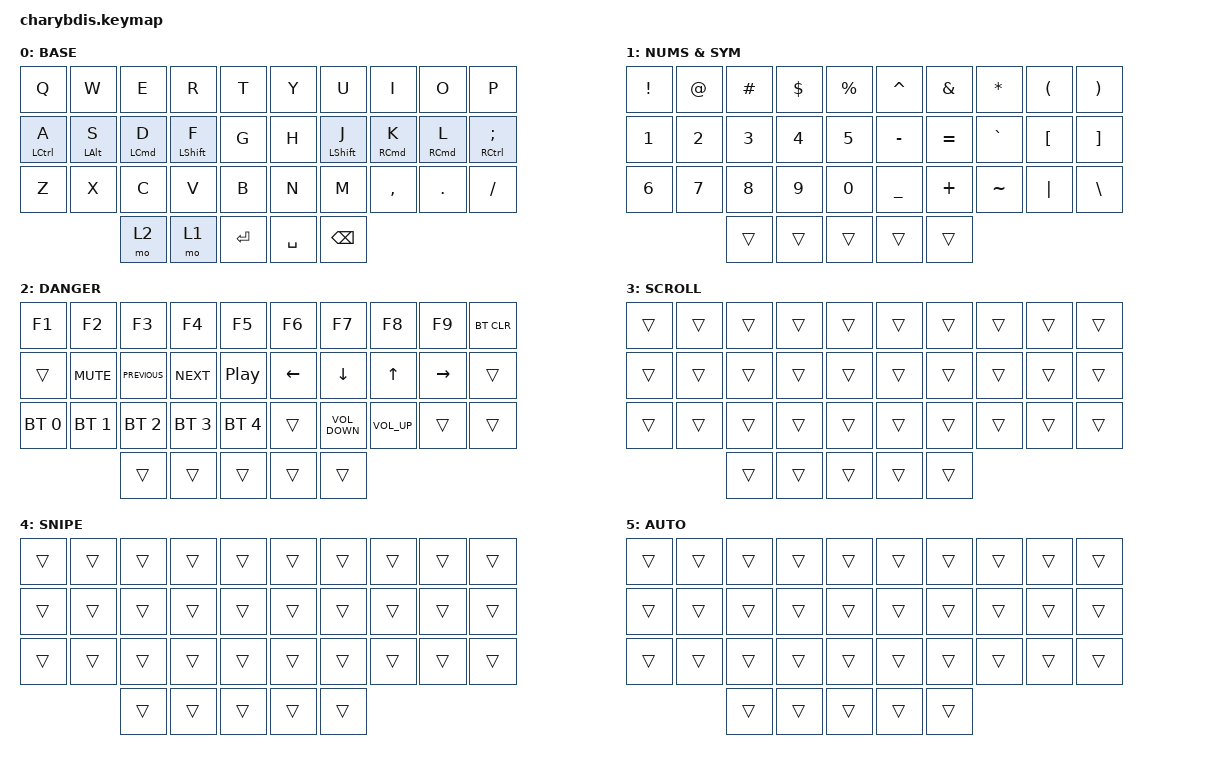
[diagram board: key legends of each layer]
#include <behaviors/mouse_keys.dtsi>

#include "zmk-helpers/helper.h"

#include "zmk-helpers/key-labels/34.h"                                      // key-position labels
#include <behaviors.dtsi>

#include <dt-bindings/zmk/bt.h>
#include <dt-bindings/zmk/keys.h>
#include <dt-bindings/zmk/mouse.h>

#define HM_TAPPING_TERM 260
#define HM_TAPPING_TERM_FAST 165
#define HM_PRIOR_IDLE 140

#define COMBO_TERM_FAST 30
#define COMBO_TERM_SLOW 35
#define COMBO_PRIOR_IDLE 75

#define BASE 0
#define NUMS 1
#define DANGER 2
#define SCROLL 3
#define SNIPE 4
#define AUTO 5

#define KEYS_L LT0 LT1 LT2 LT3 LT4 LM0 LM1 LM2 LM3 LM4 LB0 LB1 LB2 LB3 LB4  // left-hand keys
#define KEYS_R RT0 RT1 RT2 RT3 RT4 RM0 RM1 RM2 RM3 RM4 RB0 RB1 RB2 RB3 RB4  // right-hand keys
#define KEYS_T                 LH1 LH0 RH0 RH1                              // thumb keys

/ {
combos {
        compatible = "zmk,combos";

        //INFO: Mouse clicks - left hand
        combo_mouse_left_click_l {
            timeout-ms = <COMBO_TERM_FAST>;
            require-prior-idle-ms = <COMBO_PRIOR_IDLE>;
            bindings = <&mkp LCLK>;
            key-positions = <11 12>;
        };

        combo_mouse_right_click_l {
            timeout-ms = <COMBO_TERM_FAST>;
            require-prior-idle-ms = <COMBO_PRIOR_IDLE>;
            bindings = <&mkp RCLK>;
            key-positions = <12 13>;
        };

        combo_mouse_middle_click_l {
            timeout-ms = <COMBO_TERM_FAST>;
            require-prior-idle-ms = <COMBO_PRIOR_IDLE>;
            bindings = <&mkp MCLK>;
            key-positions = <11 12 13>;
        };

        //INFO: Mouse clicks - right hand
        combo_mouse_left_click_r {
            timeout-ms = <COMBO_TERM_FAST>;
            require-prior-idle-ms = <COMBO_PRIOR_IDLE>;
            bindings = <&mkp LCLK>;
            key-positions = <16 17>;
        };

        combo_mouse_right_click_r {
            timeout-ms = <COMBO_TERM_FAST>;
            require-prior-idle-ms = <COMBO_PRIOR_IDLE>;
            bindings = <&mkp RCLK>;
            key-positions = <17 18>;
        };

        combo_mouse_middle_click_r {
            timeout-ms = <COMBO_TERM_FAST>;
            require-prior-idle-ms = <COMBO_PRIOR_IDLE>;
            bindings = <&mkp MCLK>;
            key-positions = <16 17 18>;
        };

        //INFO: Layer activation
        combo_layer_scroll_l {
            timeout-ms = <COMBO_TERM_FAST>;
            require-prior-idle-ms = <COMBO_PRIOR_IDLE>;
            bindings = <&mo 3>;
            key-positions = <21 22 23>;
        };

        combo_layer_snipe_l {
            timeout-ms = <COMBO_TERM_FAST>;
            require-prior-idle-ms = <COMBO_PRIOR_IDLE>;
            bindings = <&mo 4>;
            key-positions = <20 21 22>;
        };

        combo_layer_scroll_r {
            timeout-ms = <COMBO_TERM_FAST>;
            require-prior-idle-ms = <COMBO_PRIOR_IDLE>;
            bindings = <&mo 3>;
            key-positions = <26 27 28>;
        };

        combo_layer_snipe_r {
            timeout-ms = <COMBO_TERM_FAST>;
            require-prior-idle-ms = <COMBO_PRIOR_IDLE>;
            bindings = <&mo 4>;
            key-positions = <27 28 29>;
        };

        combo_layer_auto {
            timeout-ms = <COMBO_TERM_FAST>;
            require-prior-idle-ms = <COMBO_PRIOR_IDLE>;
            bindings = <&mo 5>;
            key-positions = <3 4>;
        };

        combo_layer_dan {
            timeout-ms = <COMBO_TERM_FAST>;
            require-prior-idle-ms = <COMBO_PRIOR_IDLE>;
            bindings = <&mo 2>;
            key-positions = <33 34>;
        };

        //INFO: Brackets and braces
        combo_paren_l {
            timeout-ms = <COMBO_TERM_FAST>;
            require-prior-idle-ms = <COMBO_PRIOR_IDLE>;
            bindings = <&kp LEFT_PARENTHESIS>;
            key-positions = <2 3>;
        };

        combo_paren_r {
            timeout-ms = <COMBO_TERM_FAST>;
            require-prior-idle-ms = <COMBO_PRIOR_IDLE>;
            bindings = <&kp RIGHT_PARENTHESIS>;
            key-positions = <6 7>;
        };

        combo_bracket_l {
            timeout-ms = <COMBO_TERM_FAST>;
            require-prior-idle-ms = <COMBO_PRIOR_IDLE>;
            bindings = <&kp LEFT_BRACKET>;
            key-positions = <1 0>;
        };

        combo_bracket_r {
            timeout-ms = <COMBO_TERM_FAST>;
            require-prior-idle-ms = <COMBO_PRIOR_IDLE>;
            bindings = <&kp RIGHT_BRACKET>;
            key-positions = <8 9>;
        };

        combo_brace_l {
            timeout-ms = <COMBO_TERM_FAST>;
            require-prior-idle-ms = <COMBO_PRIOR_IDLE>;
            bindings = <&kp LEFT_BRACE>;
            key-positions = <1 2>;
        };

        combo_brace_r {
            timeout-ms = <COMBO_TERM_FAST>;
            require-prior-idle-ms = <COMBO_PRIOR_IDLE>;
            bindings = <&kp RIGHT_BRACE>;
            key-positions = <7 8>;
        };

        //INFO: System commands
        combo_caps_word {
            timeout-ms = <COMBO_TERM_FAST>;
            require-prior-idle-ms = <COMBO_PRIOR_IDLE>;
            bindings = <&caps_word>;
            key-positions = <15 16>;
        };

        combo_esc_l {
            timeout-ms = <COMBO_TERM_FAST>;
            require-prior-idle-ms = <COMBO_PRIOR_IDLE>;
            bindings = <&kp ESCAPE>;
            key-positions = <0 1 2>;
        };

        combo_esc_r {
            timeout-ms = <COMBO_TERM_FAST>;
            require-prior-idle-ms = <COMBO_PRIOR_IDLE>;
            bindings = <&kp ESCAPE>;
            key-positions = <26 27>;
        };

        combo_tab {
            timeout-ms = <COMBO_TERM_FAST>;
            require-prior-idle-ms = <COMBO_PRIOR_IDLE>;
            bindings = <&kp TAB>;
            key-positions = <27 28>;
        };

        combo_grave {
            timeout-ms = <COMBO_TERM_FAST>;
            require-prior-idle-ms = <COMBO_PRIOR_IDLE>;
            bindings = <&kp GRAVE>;
            key-positions = <28 29>;
        };

        //INFO: Edit commands
        combo_undo {
            timeout-ms = <COMBO_TERM_FAST>;
            require-prior-idle-ms = <COMBO_PRIOR_IDLE>;
            bindings = <&kp LG(Z)>;
            key-positions = <20 21>;
        };

        combo_redo {
            timeout-ms = <COMBO_TERM_FAST>;
            require-prior-idle-ms = <COMBO_PRIOR_IDLE>;
            bindings = <&kp LS(LG(Z))>;
            key-positions = <23 24>;
        };

        combo_copy {
            timeout-ms = <COMBO_TERM_FAST>;
            require-prior-idle-ms = <COMBO_PRIOR_IDLE>;
            bindings = <&kp LG(C)>;
            key-positions = <21 22>;
        };

        combo_paste {
            timeout-ms = <COMBO_TERM_FAST>;
            require-prior-idle-ms = <COMBO_PRIOR_IDLE>;
            bindings = <&kp LG(V)>;
            key-positions = <22 23>;
        };

        //INFO: Special characters
        combo_quote {
            timeout-ms = <COMBO_TERM_FAST>;
            require-prior-idle-ms = <COMBO_PRIOR_IDLE>;
            bindings = <&kp SINGLE_QUOTE>;
            key-positions = <19 18>;
        };

        combo_underscore {
            timeout-ms = <COMBO_TERM_FAST>;
            require-prior-idle-ms = <COMBO_PRIOR_IDLE>;
            bindings = <&kp UNDERSCORE>;
            key-positions = <3 13>;
        };

        combo_minus {
            timeout-ms = <COMBO_TERM_FAST>;
            require-prior-idle-ms = <COMBO_PRIOR_IDLE>;
            bindings = <&kp MINUS>;
            key-positions = <6 16>;
        };

        combo_plus {
            timeout-ms = <COMBO_TERM_FAST>;
            require-prior-idle-ms = <COMBO_PRIOR_IDLE>;
            bindings = <&kp PLUS>;
            key-positions = <2 12>;
        };

        combo_equal {
            timeout-ms = <COMBO_TERM_FAST>;
            require-prior-idle-ms = <COMBO_PRIOR_IDLE>;
            bindings = <&kp EQUAL>;
            key-positions = <7 17>;
        };
    };

    trackball_listener {
      compatible = "zmk,input-behavior-listener";
      device = <&vtrackball>;
      layers = <BASE NUMS DANGER SCROLL SNIPE AUTO>;
      evt-type = <INPUT_EV_REL>;
      x-input-code = <INPUT_REL_X>;
      y-input-code = <INPUT_REL_Y>;
      scale-multiplier = <1>;
      scale-divisor = <1>;
    };

    trackball_snipe_listener {
      compatible = "zmk,input-behavior-listener";
      device = <&vtrackball>;
      layers = <SNIPE>;
      evt-type = <INPUT_EV_REL>;
      x-input-code = <INPUT_REL_X>;
      y-input-code = <INPUT_REL_Y>;
      scale-multiplier = <1>;
      scale-divisor = <16>;
    };

    trackball_scroll_listener {
      compatible = "zmk,input-behavior-listener";
      device = <&vtrackball>;
      layers = <SCROLL>;
      evt-type = <INPUT_EV_REL>;
      x-input-code = <INPUT_REL_MISC>;
      y-input-code = <INPUT_REL_WHEEL>;
      bindings = <&ib_wheel_scaler 1 25>;
    };

    ib_wheel_scaler: ib_wheel_scaler {
      compatible = "zmk,input-behavior-scaler";
      #binding-cells = <2>;
      evt-type = <INPUT_EV_REL>;
      input-code = <INPUT_REL_WHEEL>;
    };

    behaviors {
        hm_l: homerow_mods_left {
            compatible = "zmk,behavior-hold-tap";
            #binding-cells = <2>;
            bindings = <&kp>, <&kp>;

            flavor = "balanced";
            tapping-term-ms = <HM_TAPPING_TERM>;
            quick-tap-ms = <HM_TAPPING_TERM_FAST>;
            require-prior-idle-ms = <HM_PRIOR_IDLE>;
            hold-trigger-key-positions = <KEYS_R KEYS_T>;
            hold-trigger-on-release;
        };

        hm_r: homerow_mods_right {
            compatible = "zmk,behavior-hold-tap";
            #binding-cells = <2>;
            bindings = <&kp>, <&kp>;

            flavor = "balanced";
            tapping-term-ms = <HM_TAPPING_TERM>;
            quick-tap-ms = <HM_TAPPING_TERM_FAST>;
            require-prior-idle-ms = <HM_PRIOR_IDLE>;
            hold-trigger-key-positions = <KEYS_L KEYS_T>;
            hold-trigger-on-release;
        };
    };

    keymap {
        compatible = "zmk,keymap";

        BASE {
            display-name = "BASE";
            bindings = <
  &kp Q                 &kp W             &kp E                 &kp R               &kp T        &kp Y      &kp U               &kp I                  &kp O                 &kp P
  &hm_l LEFT_CONTROL A  &hm_l LEFT_ALT S  &hm_l LEFT_COMMAND D  &hm_l LEFT_SHIFT F  &kp G        &kp H      &hm_r LEFT_SHIFT J  &hm_r RIGHT_COMMAND K  &hm_r RIGHT_COMMAND L &hm_r RIGHT_CONTROL SEMI
  &kp Z                 &kp X             &kp C                 &kp V               &kp B        &kp N      &kp M               &kp COMMA              &kp DOT               &kp SLASH
                                          &mo 2                 &mo 1               &kp ENTER    &kp SPACE  &kp BACKSPACE
            >;
        };

        NUMS {
            display-name = "NUMS & SYM";
            bindings = <
  &kp EXCL      &kp AT        &kp HASH      &kp DLLR      &kp PRCNT       &kp CARET  &kp AMPS   &kp ASTRK  &kp LPAR          &kp RPAR
  &kp NUMBER_1  &kp NUMBER_2  &kp NUMBER_3  &kp NUMBER_4  &kp NUMBER_5    &kp MINUS  &kp EQUAL  &kp GRAVE  &kp LEFT_BRACKET  &kp RIGHT_BRACKET
  &kp NUMBER_6  &kp NUMBER_7  &kp NUMBER_8  &kp N9        &kp NUMBER_0    &kp UNDER  &kp PLUS   &kp TILDE  &kp PIPE          &kp BACKSLASH
                              &trans        &trans        &trans          &trans     &trans
            >;
        };

        DANGER {
            display-name = "DANGER";
            bindings = <
  &kp F1        &kp F2        &kp F3          &kp F4        &kp F5              &kp F6    &kp F7             &kp F8           &kp F9     &bt BT_CLR
  &trans        &kp C_MUTE    &kp C_PREVIOUS  &kp C_NEXT    &kp C_PLAY_PAUSE    &kp LEFT  &kp DOWN           &kp UP           &kp RIGHT  &trans
  &bt BT_SEL 0  &bt BT_SEL 1  &bt BT_SEL 2    &bt BT_SEL 3  &bt BT_SEL 4        &trans    &kp C_VOLUME_DOWN  &kp C_VOLUME_UP  &trans     &trans
                              &trans          &trans        &trans              &trans    &trans
            >;
        };

        SCROLL {
            display-name = "SCROLL";
            bindings = <
&trans  &trans  &trans    &trans    &trans    &trans  &trans  &trans  &trans  &trans
&trans  &trans  &trans    &trans    &trans    &trans  &trans  &trans  &trans  &trans
&trans  &trans  &trans    &trans    &trans    &trans  &trans  &trans  &trans  &trans
                &trans    &trans    &trans    &trans  &trans
            >;
        };

        SNIPE {
            display-name = "SNIPE";
            bindings = <
&trans  &trans  &trans    &trans    &trans    &trans  &trans  &trans  &trans  &trans
&trans  &trans  &trans    &trans    &trans    &trans  &trans  &trans  &trans  &trans
&trans  &trans  &trans    &trans    &trans    &trans  &trans  &trans  &trans  &trans
                &trans    &trans    &trans    &trans  &trans
            >;
        };

        AUTO {
            display-name = "AUTO";
            bindings = <
&trans  &trans  &trans    &trans    &trans    &trans  &trans  &trans  &trans  &trans
&trans  &trans  &trans    &trans    &trans    &trans  &trans  &trans  &trans  &trans
&trans  &trans  &trans    &trans    &trans    &trans  &trans  &trans  &trans  &trans
                &trans    &trans    &trans    &trans  &trans
            >;
        };
    };
};
